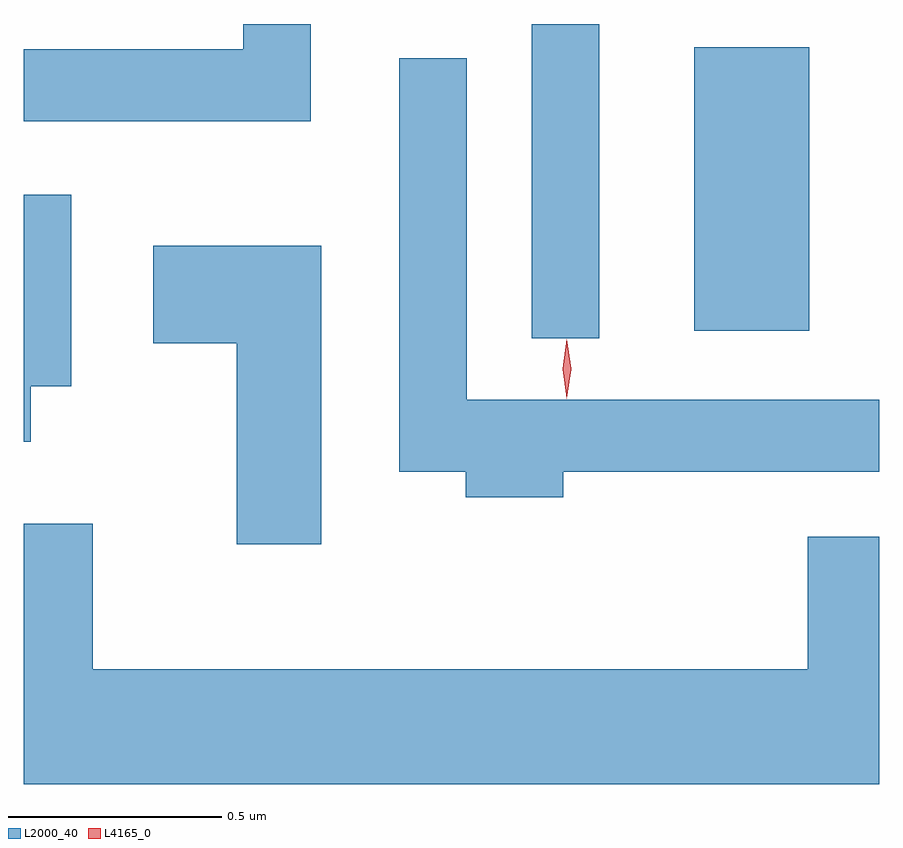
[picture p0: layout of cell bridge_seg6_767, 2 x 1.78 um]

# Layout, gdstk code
import gdstk
lib = gdstk.Library(unit=1e-6, precision=1e-09)
def R(c, l, rs):  # rectangles x0, y0, x1, y1
    for r in rs: c.add(gdstk.rectangle(r[:2], r[2:], *l))
def P(c, l, *ps):  # polygons
    for p in ps: c.add(gdstk.Polygon(p, *l))
L2000_40 = (2000, 40)
L4165_0 = (4165, 0)

bridge_seg6_767 = lib.new_cell('bridge_seg6_767')
R(bridge_seg6_767, L2000_40, [(526.046,1539.978,526.204,1540.713), (526.426,1539.996,526.694,1540.659)])
P(bridge_seg6_767, L2000_40, [(525.529,1540.713),(525.371,1540.713),(525.371,1540.654),(524.858,1540.654),(524.858,1540.486),(525.529,1540.486)],
  [(526.119,1539.666),(526.858,1539.666),(526.858,1539.834),(525.894,1539.834),(525.894,1540.633),(525.736,1540.633),(525.736,1539.666),(525.891,1539.666),(525.891,1539.606),(526.119,1539.606)],
  [(524.874,1539.866),(524.969,1539.866),(524.969,1540.314),(524.858,1540.314),(524.858,1539.736),(524.874,1539.736)],
  [(525.554,1540.194),(525.161,1540.194),(525.161,1539.966),(525.356,1539.966),(525.356,1539.496),(525.554,1539.496)],
  [(526.858,1539.514),(526.691,1539.514),(526.691,1539.204),(525.019,1539.204),(525.019,1539.544),(524.858,1539.544),(524.858,1538.936),(526.858,1538.936)])
P(bridge_seg6_767, L4165_0, [(526.128,1539.839),(526.128,1539.84),(526.118,1539.906),(526.127,1539.972),(526.128,1539.973),(526.128,1539.972),(526.138,1539.906),(526.128,1539.84)],
  [(526.128,1539.837),(526.127,1539.838),(526.118,1539.907),(526.127,1539.976),(526.128,1539.976),(526.128,1539.976),(526.138,1539.907),(526.128,1539.838)])

lib.write_gds('bridge_seg6_767.gds')
